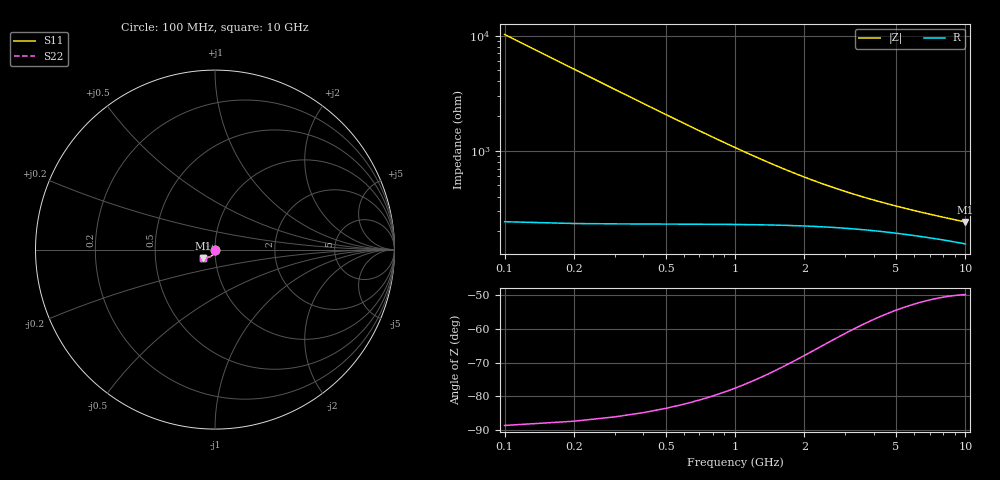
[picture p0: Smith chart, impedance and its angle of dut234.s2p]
! Touchstone file exported from HFSS 2024.1.0
!  File:  C:/UserFiles/LocalFiles/RDL_TSV_Batchsim/temp_TSV1_234_1778767598.aedt
!  Generated:  10:11:46 PM May 14, 2026
!  Design:  TSV1
!  Project:  temp_TSV1_234_1778767598
!  Setup:  Setup1
!  Solution:  Sweep
! Variables:
!  dtsv = 16.28um
!  hbump = 3um
!  htsv = 78.81um
!  lrdl = 252.1521522um
!  p = 40
!  p1 = 43.66um
!  t = 500um
!  trdl = 3um
!  wrdl = 24.89489489um
# GHz S MA R 50.000000
! Terminal data exported
! Port[1] = TSV22_T1
! Port[2] = TSV22_T2
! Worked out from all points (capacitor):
!   100 points, 100 MHz to 10 GHz, reference 50 ohm
!   read as one part in shunt: C = 156 fF near 100 MHz
!   lowest |Z| = 241 ohm at 10 GHz (marker M1)
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0.1  0.002162 -89.4  0.9999 -0.2  0.9999 -0.2  0.002162 -89.4
! Gamma 0 0 0 0
! Port Impedance 50 0 50 0
0.2  0.004315 -92.0  0.9997 -0.3  0.9997 -0.3  0.004315 -92.0
0.3  0.006457 -93.9  0.9994 -0.5  0.9994 -0.5  0.006457 -93.9
0.4  0.008581 -95.7  0.999 -0.6  0.999 -0.6  0.008581 -95.7
0.5  0.01068 -97.3  0.9985 -0.8  0.9985 -0.8  0.01068 -97.3
0.6  0.01275 -98.8  0.9978 -0.9  0.9978 -0.9  0.01275 -98.8
0.7  0.01479 -100.4  0.9971 -1.1  0.9971 -1.1  0.01479 -100.4
0.8  0.0168 -101.9  0.9963 -1.2  0.9963 -1.2  0.0168 -101.9
0.9  0.01876 -103.3  0.9955 -1.3  0.9955 -1.3  0.01876 -103.3
1.1  0.02254 -106.1  0.9935 -1.6  0.9935 -1.6  0.02254 -106.1
1.4  0.02784 -110.0  0.9903 -1.9  0.9903 -1.9  0.02784 -110.0
1.6  0.03112 -112.4  0.988 -2.1  0.988 -2.1  0.03112 -112.4
1.8  0.03418 -114.7  0.9857 -2.3  0.9857 -2.3  0.03418 -114.7
2.1  0.03838 -117.8  0.9822 -2.6  0.9822 -2.6  0.03838 -117.8
2.5  0.04333 -121.4  0.9777 -2.9  0.9777 -2.9  0.04333 -121.4
2.9  0.04761 -124.5  0.9735 -3.1  0.9735 -3.1  0.04761 -124.5
3.4  0.05219 -127.8  0.9686 -3.4  0.9686 -3.4  0.05219 -127.8
4.2  0.0582 -131.9  0.9619 -3.8  0.9619 -3.8  0.0582 -131.9
5.1  0.0636 -135.4  0.9556 -4.1  0.9556 -4.1  0.0636 -135.4
6.7  0.071 -139.7  0.9468 -4.7  0.9468 -4.7  0.071 -139.7
8.4  0.07693 -142.9  0.9399 -5.2  0.9399 -5.2  0.07693 -142.9
10  0.08126 -145.2  0.9349 -5.7  0.9349 -5.7  0.08126 -145.2
